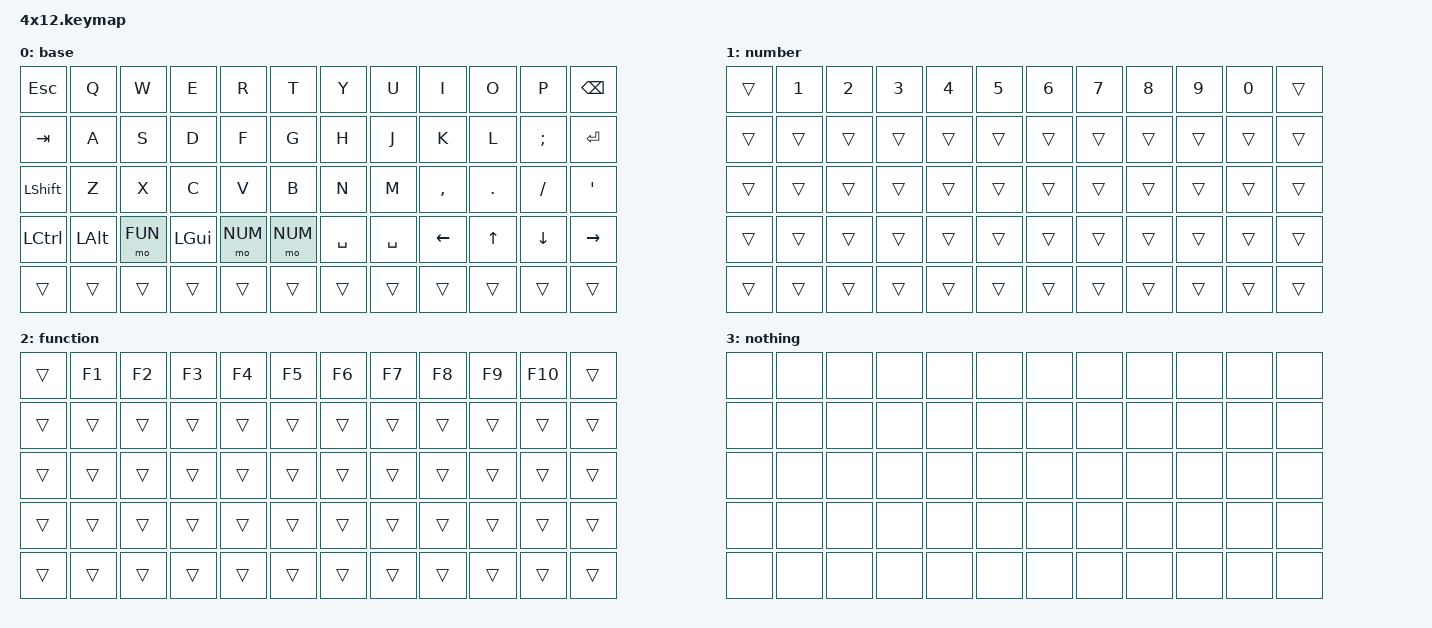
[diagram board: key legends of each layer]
keymap {

    compatible = "zmk,keymap";

    base {
        bindings = <
            &kp ESC    &kp Q        &kp W       &kp E    &kp R      &kp T       &kp Y       &kp U   &kp I       &kp O       &kp P       &kp BSPC
            &kp TAB    &kp A        &kp S       &kp D    &kp F      &kp G       &kp H       &kp J   &kp K       &kp L       &kp SEMI    &kp RET
            &kp LSHIFT &kp Z        &kp X       &kp C    &kp V      &kp B       &kp N       &kp M   &kp COMMA   &kp DOT     &kp FSLH    &kp SQT
            &kp LCTL   &kp LALT     &mo FUN     &kp LGUI &mo NUM    &mo NUM     &kp SPC     &kp SPC &kp LEFT    &kp UP      &kp DOWN    &kp RIGHT
            &trans     &trans       &trans      &trans   &trans     &trans      &trans      &trans  &trans      &trans      &trans      &trans
        >;
    };

    number {
        bindings = <
            &trans  &kp N1  &kp N2  &kp N3  &kp N4  &kp N5  &kp N6  &kp N7  &kp N8  &kp N9  &kp N0  &trans
            &trans  &trans  &trans  &trans  &trans  &trans  &trans  &trans  &trans  &trans  &trans  &trans
            &trans  &trans  &trans  &trans  &trans  &trans  &trans  &trans  &trans  &trans  &trans  &trans
            &trans  &trans  &trans  &trans  &trans  &trans  &trans  &trans  &trans  &trans  &trans  &trans
            &trans  &trans  &trans  &trans  &trans  &trans  &trans  &trans  &trans  &trans  &trans  &trans
        >;
    };

    function {
        bindings = <
            &trans  &kp F1  &kp F2  &kp F3  &kp F4  &kp F5  &kp F6  &kp F7  &kp F8  &kp F9  &kp F10  &trans
            &trans  &trans  &trans  &trans  &trans  &trans  &trans  &trans  &trans  &trans  &trans  &trans
            &trans  &trans  &trans  &trans  &trans  &trans  &trans  &trans  &trans  &trans  &trans  &trans
            &trans  &trans  &trans  &trans  &trans  &trans  &trans  &trans  &trans  &trans  &trans  &trans
            &trans  &trans  &trans  &trans  &trans  &trans  &trans  &trans  &trans  &trans  &trans  &trans
        >;
    };

    nothing {
        bindings = <
            &none  &none  &none  &none  &none  &none  &none  &none  &none  &none  &none  &none
            &none  &none  &none  &none  &none  &none  &none  &none  &none  &none  &none  &none
            &none  &none  &none  &none  &none  &none  &none  &none  &none  &none  &none  &none
            &none  &none  &none  &none  &none  &none  &none  &none  &none  &none  &none  &none
            &none  &none  &none  &none  &none  &none  &none  &none  &none  &none  &none  &none
        >;
    };
};
